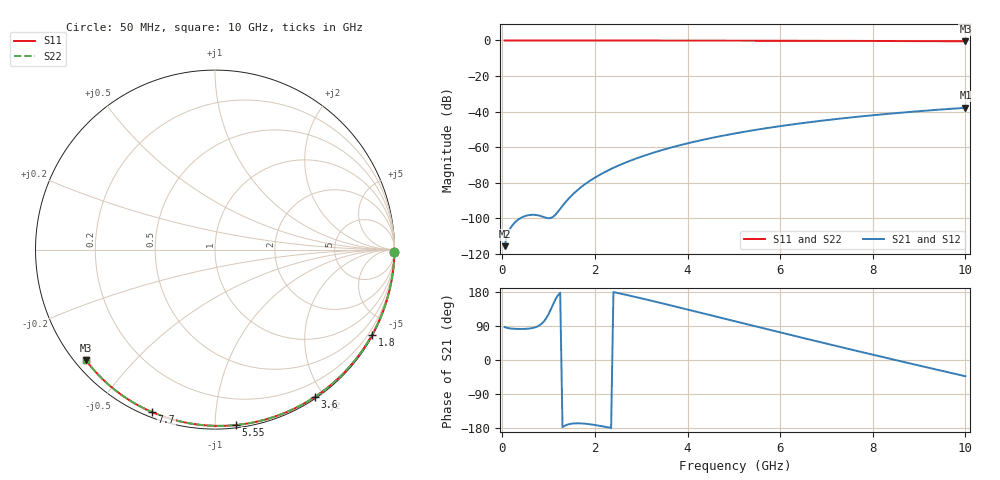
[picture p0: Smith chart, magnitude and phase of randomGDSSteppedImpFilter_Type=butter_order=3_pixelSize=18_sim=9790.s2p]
! freq	dB(S11)	phase(S11)	dB(S12)	phase(S12)
!  dB(S21)	phase(S21)	dB(S22)	phase(S22)
!S-par simulation data
#  GHz  S  DB  R 50
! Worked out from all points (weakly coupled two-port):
!   200 points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, 50 MHz to 10 GHz, reference 50 ohm
!   highest |S21| = -37.85 dB at 10 GHz (marker M1); lowest = -115.6 dB at 50 MHz (marker M2)
!   lowest |S11| = -0.5 dB at 10 GHz (marker M3), VSWR 36.87, Z = 1.54 - j18.5 ohm
!   |S11| at or under -10 dB: nowhere
!   |S22| runs from -0.5 to 0.0 dB; largest |S21 - S12| = 0
!   S11 on the Smith chart (normalised r, x): 50 MHz: open; 1.8 GHz: 0.03, -3.93; 3.6 GHz: 0.02, -1.89; 5.55 GHz: 0.02, -1.13; 7.7 GHz: 0.02, -0.69; 10 GHz: 0.03, -0.37
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0.05  -0.00 -0.8  -115.63 87.0  -115.63 87.0  -0.00 -0.8
0.45  -0.01 -7.2  -99.13 82.0  -99.13 82.0  -0.01 -7.2
0.9  -0.02 -14.4  -99.28 101.9  -99.28 101.9  -0.02 -14.4
1.75  -0.04 -27.8  -81.48 -167.7  -81.48 -167.7  -0.04 -27.8
1.8  -0.04 -28.6  -80.52 -168.3  -80.52 -168.3  -0.04 -28.6
1.85  -0.04 -29.3  -79.61 -168.9  -79.61 -168.9  -0.04 -29.3
2.05  -0.04 -32.4  -76.33 -172.5  -76.33 -172.5  -0.04 -32.4
2.25  -0.05 -35.5  -73.49 -177.0  -73.49 -177.0  -0.05 -35.5
2.55  -0.05 -40.1  -69.84 175.3  -69.84 175.3  -0.05 -40.1
2.95  -0.06 -46.1  -65.79 164.2  -65.79 164.2  -0.06 -46.1
3.4  -0.07 -52.8  -62.00 151.1  -62.00 151.1  -0.07 -52.8
3.6  -0.08 -55.8  -60.51 145.2  -60.51 145.2  -0.08 -55.8
3.9  -0.08 -60.1  -58.46 136.2  -58.46 136.2  -0.08 -60.1
4.3  -0.09 -65.9  -56.02 124.2  -56.02 124.2  -0.09 -65.9
5.05  -0.12 -76.4  -52.13 101.5  -52.13 101.5  -0.12 -76.4
5.55  -0.14 -83.2  -49.93 86.4  -49.93 86.4  -0.14 -83.2
6.1  -0.16 -90.6  -47.79 69.9  -47.79 69.9  -0.16 -90.6
6.7  -0.19 -98.4  -45.73 52.1  -45.73 52.1  -0.19 -98.4
7.7  -0.25 -111.1  -42.81 22.7  -42.81 22.7  -0.25 -111.1
8.35  -0.30 -119.2  -41.19 3.9  -41.19 3.9  -0.30 -119.2
9.2  -0.38 -129.6  -39.35 -20.3  -39.35 -20.3  -0.38 -129.6
10  -0.47 -139.3  -37.85 -42.9  -37.85 -42.9  -0.47 -139.3
